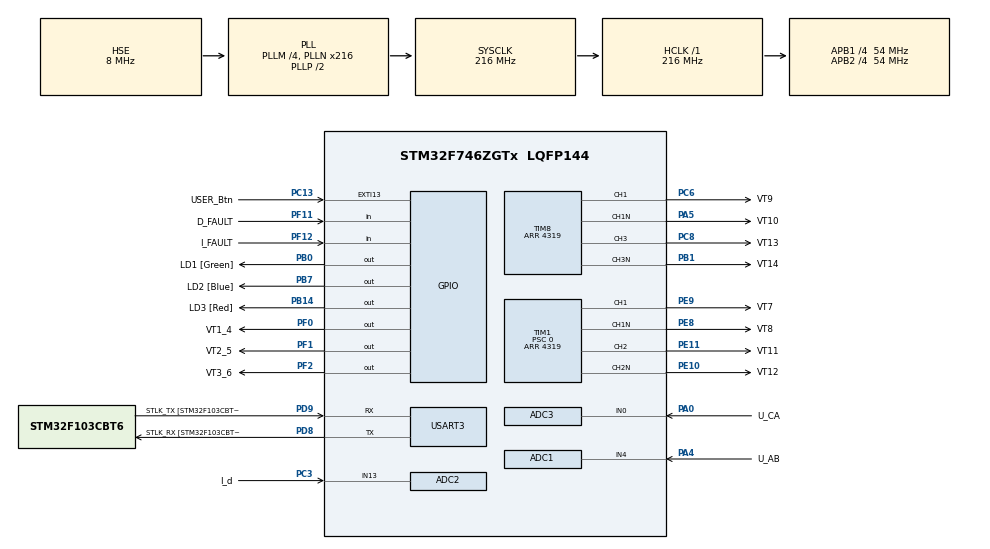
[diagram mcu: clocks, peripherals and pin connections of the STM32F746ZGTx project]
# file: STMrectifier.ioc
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ADC1.Channel-0\#ChannelRegularConversion=ADC_CHANNEL_4
ADC1.ClockPrescaler=ADC_CLOCK_SYNC_PCLK_DIV6
ADC1.ContinuousConvMode=ENABLE
ADC1.ExternalTrigConv=ADC_EXTERNALTRIGCONV_T1_TRGO
ADC1.NbrOfConversionFlag=1
ADC1.Rank-0\#ChannelRegularConversion=1
ADC1.SamplingTime-0\#ChannelRegularConversion=ADC_SAMPLETIME_3CYCLES
ADC1.master=1
ADC2.Channel-0\#ChannelRegularConversion=ADC_CHANNEL_13
ADC2.ClockPrescaler=ADC_CLOCK_SYNC_PCLK_DIV6
ADC2.ExternalTrigConv=ADC_SOFTWARE_START
ADC2.NbrOfConversion=1
ADC2.NbrOfConversionFlag=1
ADC2.Rank-0\#ChannelRegularConversion=1
ADC2.SamplingTime-0\#ChannelRegularConversion=ADC_SAMPLETIME_3CYCLES
ADC3.Channel-0\#ChannelRegularConversion=ADC_CHANNEL_0
ADC3.ClockPrescaler=ADC_CLOCK_SYNC_PCLK_DIV6
ADC3.ExternalTrigConv=ADC_SOFTWARE_START
ADC3.NbrOfConversionFlag=1
ADC3.Rank-0\#ChannelRegularConversion=1
ADC3.SamplingTime-0\#ChannelRegularConversion=ADC_SAMPLETIME_3CYCLES
Dma.ADC1.0.Direction=DMA_PERIPH_TO_MEMORY
Dma.ADC1.0.FIFOMode=DMA_FIFOMODE_DISABLE
Dma.ADC1.0.Instance=DMA2_Stream0
Dma.ADC1.0.MemDataAlignment=DMA_MDATAALIGN_HALFWORD
Dma.ADC1.0.MemInc=DMA_MINC_ENABLE
Dma.ADC1.0.Mode=DMA_CIRCULAR
Dma.ADC1.0.PeriphDataAlignment=DMA_PDATAALIGN_HALFWORD
Dma.ADC1.0.PeriphInc=DMA_PINC_DISABLE
Dma.ADC1.0.Priority=DMA_PRIORITY_LOW
Dma.Request0=ADC1
Mcu.Family=STM32F7
Mcu.Name=STM32F746ZGTx
Mcu.Package=LQFP144
NVIC.DMA2_Stream0_IRQn=true\:0\:0\:false\:false\:true\:false\:true
NVIC.PriorityGroup=NVIC_PRIORITYGROUP_4
PA0/WKUP.GPIO_Label=U_CA
PA0/WKUP.Signal=ADCx_IN0
PA1.GPIO_Label=RMII_REF_CLK [LAN8742A-CZ-TR_REFCLK0]
PA1.Signal=ETH_REF_CLK
PA10.GPIO_Label=USB_ID
PA10.Signal=USB_OTG_FS_ID
PA11.GPIO_Label=USB_DM
PA11.Signal=USB_OTG_FS_DM
PA12.GPIO_Label=USB_DP
PA12.Signal=USB_OTG_FS_DP
PA13.GPIO_Label=TMS
PA13.Mode=Serial_Wire
PA13.Signal=SYS_JTMS-SWDIO
PA14.GPIO_Label=TCK
PA14.Mode=Serial_Wire
PA14.Signal=SYS_JTCK-SWCLK
PA2.GPIO_Label=RMII_MDIO [LAN8742A-CZ-TR_MDIO]
PA2.Signal=ETH_MDIO
PA3.GPIO_Label=U_BC
PA3.Signal=ADCx_IN3
PA4.GPIO_Label=U_AB
PA4.Signal=ADCx_IN4
PA5.GPIO_Label=VT10
PA5.GPIO_Speed=GPIO_SPEED_FREQ_VERY_HIGH
PA5.Mode=PWM Generation1 CH1 CH1N
PA5.Signal=TIM8_CH1N
PA6.GPIO_Label=FAULT
PA6.Signal=TIM1_BKIN
PA7.GPIO_Label=RMII_CRS_DV [LAN8742A-CZ-TR_CRS_DV]
PA7.Signal=ETH_CRS_DV
PA8.GPIO_Label=USB_SOF [TP1]
PA8.Signal=USB_OTG_FS_SOF
PA9.GPIO_Label=USB_VBUS
PA9.Signal=USB_OTG_FS_VBUS
PB0.GPIO_Label=LD1 [Green]
PB0.Signal=GPIO_Output
PB1.GPIO_Label=VT14
PB1.GPIO_Speed=GPIO_SPEED_FREQ_VERY_HIGH
PB1.Mode=PWM Generation3 CH3 CH3N
PB1.Signal=TIM8_CH3N
PB13.GPIO_Label=RMII_TXD1 [LAN8742A-CZ-TR_TXD1]
PB13.Signal=ETH_TXD1
PB14.GPIO_Label=LD3 [Red]
PB14.Signal=GPIO_Output
PB3.GPIO_Label=SW0
PB3.Signal=SYS_JTDO-SWO
PB7.GPIO_Label=LD2 [Blue]
PB7.Signal=GPIO_Output
PC1.GPIO_Label=RMII_MDC [LAN8742A-CZ-TR_MDC]
PC1.Signal=ETH_MDC
PC13.GPIO_Label=USER_Btn
PC13.Signal=GPXTI13
PC14/OSC32_IN.Mode=LSE-External-Oscillator
PC14/OSC32_IN.Signal=RCC_OSC32_IN
PC15/OSC32_OUT.Mode=LSE-External-Oscillator
PC15/OSC32_OUT.Signal=RCC_OSC32_OUT
PC2.GPIO_Label=U_d
PC2.Signal=ADCx_IN12
PC3.GPIO_Label=I_d
PC3.Signal=ADCx_IN13
PC4.GPIO_Label=RMII_RXD0 [LAN8742A-CZ-TR_RXD0]
PC4.Signal=ETH_RXD0
PC5.GPIO_Label=RMII_RXD1 [LAN8742A-CZ-TR_RXD1]
PC5.Signal=ETH_RXD1
PC6.GPIO_Label=VT9
PC6.GPIO_Speed=GPIO_SPEED_FREQ_VERY_HIGH
PC6.Signal=S_TIM8_CH1
PC8.GPIO_Label=VT13
PC8.GPIO_Speed=GPIO_SPEED_FREQ_VERY_HIGH
PC8.Signal=S_TIM8_CH3
PD8.GPIO_Label=STLK_RX [STM32F103CBT6_PA3]
PD8.Mode=Asynchronous
PD8.Signal=USART3_TX
PD9.GPIO_Label=STLK_TX [STM32F103CBT6_PA2]
PD9.Mode=Asynchronous
PD9.Signal=USART3_RX
PE10.GPIO_Label=VT12
PE10.GPIO_Speed=GPIO_SPEED_FREQ_VERY_HIGH
PE10.Mode=PWM Generation2 CH2 CH2N
PE10.Signal=TIM1_CH2N
PE11.GPIO_Label=VT11
PE11.GPIO_Speed=GPIO_SPEED_FREQ_VERY_HIGH
PE11.Signal=S_TIM1_CH2
PE8.GPIO_Label=VT8
PE8.GPIO_Speed=GPIO_SPEED_FREQ_VERY_HIGH
PE8.Mode=PWM Generation1 CH1 CH1N
PE8.Signal=TIM1_CH1N
PE9.GPIO_Label=VT7
PE9.GPIO_Speed=GPIO_SPEED_FREQ_VERY_HIGH
PE9.Signal=S_TIM1_CH1
PF0.GPIO_Label=VT1_4
PF0.GPIO_Speed=GPIO_SPEED_FREQ_VERY_HIGH
PF0.Signal=GPIO_Output
PF1.GPIO_Label=VT2_5
PF1.GPIO_Speed=GPIO_SPEED_FREQ_VERY_HIGH
PF1.Signal=GPIO_Output
PF11.GPIO_Label=D_FAULT
PF11.Signal=GPIO_Input
PF12.GPIO_Label=I_FAULT
PF12.Signal=GPIO_Input
PF2.GPIO_Label=VT3_6
PF2.GPIO_Speed=GPIO_SPEED_FREQ_VERY_HIGH
PF2.Signal=GPIO_Output
PG11.GPIO_Label=RMII_TX_EN [LAN8742A-CZ-TR_TXEN]
PG11.Signal=ETH_TX_EN
PG13.GPIO_Label=RMII_TXD0 [LAN8742A-CZ-TR_TXD0]
PG13.Signal=ETH_TXD0
PH0/OSC_IN.GPIO_Label=MCO [STM32F103CBT6_PA8]
PH0/OSC_IN.Mode=HSE-External-Clock-Source
PH0/OSC_IN.Signal=RCC_OSC_IN
PH1/OSC_OUT.Mode=HSE-External-Clock-Source
PH1/OSC_OUT.Signal=RCC_OSC_OUT
ProjectManager.HeapSize=0x200
ProjectManager.StackSize=0x400
ProjectManager.TargetToolchain=STM32CubeIDE
RCC.48MHZClocksFreq_Value=24000000
RCC.AHBFreq_Value=216000000
RCC.APB1CLKDivider=RCC_HCLK_DIV4
RCC.APB1Freq_Value=54000000
RCC.APB1TimFreq_Value=108000000
RCC.APB2CLKDivider=RCC_HCLK_DIV4
RCC.APB2Freq_Value=54000000
RCC.APB2TimFreq_Value=108000000
RCC.CortexFreq_Value=216000000
RCC.HCLKFreq_Value=216000000
RCC.HSE_VALUE=8000000
RCC.HSI_VALUE=16000000
RCC.PLLM=4
RCC.PLLMUL=RCC_PLL_MUL9
RCC.PLLN=216
RCC.PLLQ=3
RCC.PLLSourceVirtual=RCC_PLLSOURCE_HSE
RCC.PRESCALERUSB=RCC_USBCLKSOURCE_PLL_DIV1_5
RCC.SYSCLKFreq_VALUE=216000000
RCC.SYSCLKSource=RCC_SYSCLKSOURCE_PLLCLK
RCC.SYSCLKSourceVirtual=RCC_SYSCLKSOURCE_PLLCLK
RCC.USBFreq_Value=144000000
RCC.VCOOutputFreq_Value=432000000
SH.ADCx_IN0.0=ADC3_IN0,IN0
SH.ADCx_IN12.0=ADC1_IN12
SH.ADCx_IN13.0=ADC2_IN13,IN13
SH.ADCx_IN3.0=ADC3_IN3
SH.ADCx_IN4.0=ADC1_IN4,IN4
SH.S_TIM1_CH1.0=TIM1_CH1,PWM Generation1 CH1 CH1N
SH.S_TIM1_CH2.0=TIM1_CH2,PWM Generation2 CH2 CH2N
SH.S_TIM8_CH1.0=TIM8_CH1,PWM Generation1 CH1 CH1N
SH.S_TIM8_CH3.0=TIM8_CH3,PWM Generation3 CH3 CH3N
TIM1.Channel-PWM\ Generation1\ CH1\ CH1N=TIM_CHANNEL_1
TIM1.Channel-PWM\ Generation2\ CH2\ CH2N=TIM_CHANNEL_2
TIM1.CounterMode=TIM_COUNTERMODE_UP
TIM1.OCMode_PWM-PWM\ Generation1\ CH1\ CH1N=TIM_OCMODE_PWM1
TIM1.Period=4319
TIM1.Prescaler=0
TIM1.Pulse-PWM\ Generation1\ CH1\ CH1N=2159
TIM1.Pulse-PWM\ Generation2\ CH2\ CH2N=2159
TIM1.TIM_MasterOutputTrigger=TIM_TRGO_UPDATE
TIM8.Channel-PWM\ Generation1\ CH1\ CH1N=TIM_CHANNEL_1
TIM8.Channel-PWM\ Generation3\ CH3\ CH3N=TIM_CHANNEL_3
TIM8.Period=4319
TIM8.Pulse-PWM\ Generation1\ CH1\ CH1N=2159
TIM8.Pulse-PWM\ Generation3\ CH3\ CH3N=2159
USART3.VirtualMode-Asynchronous=VM_ASYNC
VP_TIM1_VS_ClockSourceINT.Mode=Internal
VP_TIM8_VS_ClockSourceINT.Mode=Internal
board=NUCLEO-F746ZG

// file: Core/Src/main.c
/* USER CODE BEGIN Header */
/**
  ******************************************************************************
  * @file           : main.c
  * @brief          : Main program body
  ******************************************************************************
  * @attention
  *
  * <h2><center>&copy; Copyright (c) 2021 STMicroelectronics.
  * All rights reserved.</center></h2>
  *
  * This software component is licensed by ST under BSD 3-Clause license,
  * the "License"; You may not use this file except in compliance with the
  * License. You may obtain a copy of the License at:
  *                        opensource.org/licenses/BSD-3-Clause
  *
  ******************************************************************************
  */
/* USER CODE END Header */
#include "main.h"

/* USER CODE BEGIN Includes */
#include <stdio.h>
#include "string.h" // это для функции strlen()
/* USER CODE END Includes */

/* USER CODE BEGIN PD */
#define DT_0_5 54
#define DT_2_0 172
#define DT_4_0 214
/* USER CODE END PD */

ADC_HandleTypeDef hadc1;
ADC_HandleTypeDef hadc2;
ADC_HandleTypeDef hadc3;
DMA_HandleTypeDef hdma_adc1;

TIM_HandleTypeDef htim1;
TIM_HandleTypeDef htim8;

UART_HandleTypeDef huart3;

/* USER CODE BEGIN PV */
char trans_str[64] = {0,};
volatile uint16_t adc = 0;
volatile uint8_t flag = 0;

/* USER CODE END PV */

void SystemClock_Config(void);
static void MX_GPIO_Init(void);
static void MX_USART3_UART_Init(void);
static void MX_ADC1_Init(void);
static void MX_ADC2_Init(void);
static void MX_ADC3_Init(void);
static void MX_TIM1_Init(void);
static void MX_DMA_Init(void);
static void MX_TIM8_Init(void);
/* USER CODE BEGIN PFP */
void setPWM(TIM_HandleTypeDef timer, uint32_t channel, uint16_t period, uint16_t pulse) ;
/* USER CODE END PFP */

/* USER CODE BEGIN 0 */
/*void HAL_TIM_PWM_PulseFinishedCallback(TIM_HandleTypeDef *htim)
{
  if (htim->Instance == TIM1) // check if the interrupt comes from TIM1
  {
    HAL_GPIO_TogglePin(VT1_4_GPIO_Port, VT1_4_Pin);
    HAL_GPIO_TogglePin(VT2_5_GPIO_Port, VT2_5_Pin);
    HAL_GPIO_TogglePin(VT3_6_GPIO_Port, VT3_6_Pin);
  }
}*/

void HAL_ADC_ConvCpltCallback(ADC_HandleTypeDef* hadc)
{
  if(hadc->Instance == ADC1)
  {
    //snprintf(trans_str, 63, "ADC %d %d\n", (uint16_t)adc[0], (uint16_t)adc[1]);
    //HAL_UART_Transmit(&huart3, (uint8_t*)&adc, sizeof(adc), 1000);
    flag++;
  }
}
/* USER CODE END 0 */

int main(void)
{
  /* USER CODE BEGIN 1 */
  uint8_t flag_USER_Btn_press = 1;
  uint32_t time_USER_Btn_press = 0;
  uint8_t dt_state = 0;
  /* USER CODE END 1 */

  /* MCU Configuration--------------------------------------------------------*/

  /* Reset of all peripherals, Initializes the Flash interface and the Systick. */
  HAL_Init();

  /* Configure the system clock */
  SystemClock_Config();

  /* Initialize all configured peripherals */
  MX_GPIO_Init();
  MX_USART3_UART_Init();
  MX_ADC1_Init();
  MX_ADC2_Init();
  MX_ADC3_Init();
  MX_TIM1_Init();
  MX_DMA_Init();
  MX_TIM8_Init();
  /* USER CODE BEGIN 2 */
  HAL_ADC_Start_DMA(&hadc1, (uint32_t*)&adc, 1);

  HAL_TIM_PWM_Start_IT(&htim1, TIM_CHANNEL_1);
  HAL_TIMEx_PWMN_Start_IT(&htim1, TIM_CHANNEL_1);
  HAL_TIM_PWM_Start(&htim1, TIM_CHANNEL_2);
  HAL_TIMEx_PWMN_Start(&htim1, TIM_CHANNEL_2);
  HAL_TIM_PWM_Start(&htim8, TIM_CHANNEL_1);
  HAL_TIMEx_PWMN_Start(&htim8, TIM_CHANNEL_1);
  HAL_TIM_PWM_Start(&htim8, TIM_CHANNEL_3);
  HAL_TIMEx_PWMN_Start(&htim8, TIM_CHANNEL_3);

  TIM1->BDTR &= 0xFFFFFF00;
  TIM8->BDTR &= 0xFFFFFF00;
  /* USER CODE END 2 */

  /* Infinite loop */
  /* USER CODE BEGIN WHILE */
  while (1)
  {
    if(flag >= 50)
    {
      flag = 0;
      HAL_UART_Transmit(&huart3, (uint8_t*) &adc, sizeof(adc), 1000);
    }
    if (HAL_GPIO_ReadPin(USER_Btn_GPIO_Port, USER_Btn_Pin) == GPIO_PIN_SET
	&& flag_USER_Btn_press)
    {
      flag_USER_Btn_press = 0;

      // действие на нажатие
      TIM1->BDTR &= 0xFFFFFF00;
      TIM8->BDTR &= 0xFFFFFF00;
      switch (++dt_state)
      {
	case 0:
	  break;
	case 1:
	  TIM1->BDTR |= DT_0_5;
	  TIM8->BDTR |= DT_0_5;
	  break;
	case 2:
	  TIM1->BDTR |= DT_2_0;
	  TIM8->BDTR |= DT_2_0;
	  break;
	case 3:
	  TIM1->BDTR |= DT_4_0;
	  TIM8->BDTR |= DT_4_0;
	  break;
      }
      if (dt_state == 4)
	dt_state = 0;

      time_USER_Btn_press = HAL_GetTick();
    }

    if (!flag_USER_Btn_press && (HAL_GetTick() - time_USER_Btn_press) > 300)
    {
      flag_USER_Btn_press = 1;
    }
    /* USER CODE END WHILE */

  }
}

void SystemClock_Config(void)
{
  RCC_OscInitTypeDef RCC_OscInitStruct = {0};
  RCC_ClkInitTypeDef RCC_ClkInitStruct = {0};
  RCC_PeriphCLKInitTypeDef PeriphClkInitStruct = {0};

  /** Configure LSE Drive Capability
  */
  HAL_PWR_EnableBkUpAccess();
  /** Configure the main internal regulator output voltage
  */
  __HAL_RCC_PWR_CLK_ENABLE();
  __HAL_PWR_VOLTAGESCALING_CONFIG(PWR_REGULATOR_VOLTAGE_SCALE1);
  /** Initializes the RCC Oscillators according to the specified parameters
  * in the RCC_OscInitTypeDef structure.
  */
  RCC_OscInitStruct.OscillatorType = RCC_OSCILLATORTYPE_HSE;
  RCC_OscInitStruct.HSEState = RCC_HSE_BYPASS;
  RCC_OscInitStruct.PLL.PLLState = RCC_PLL_ON;
  RCC_OscInitStruct.PLL.PLLSource = RCC_PLLSOURCE_HSE;
  RCC_OscInitStruct.PLL.PLLM = 4;
  RCC_OscInitStruct.PLL.PLLN = 216;
  RCC_OscInitStruct.PLL.PLLP = RCC_PLLP_DIV2;
  RCC_OscInitStruct.PLL.PLLQ = 3;
  if (HAL_RCC_OscConfig(&RCC_OscInitStruct) != HAL_OK)
  {
    Error_Handler();
  }
  /** Activate the Over-Drive mode
  */
  if (HAL_PWREx_EnableOverDrive() != HAL_OK)
  {
    Error_Handler();
  }
  /** Initializes the CPU, AHB and APB buses clocks
  */
  RCC_ClkInitStruct.ClockType = RCC_CLOCKTYPE_HCLK|RCC_CLOCKTYPE_SYSCLK
                              |RCC_CLOCKTYPE_PCLK1|RCC_CLOCKTYPE_PCLK2;
  RCC_ClkInitStruct.SYSCLKSource = RCC_SYSCLKSOURCE_PLLCLK;
  RCC_ClkInitStruct.AHBCLKDivider = RCC_SYSCLK_DIV1;
  RCC_ClkInitStruct.APB1CLKDivider = RCC_HCLK_DIV4;
  RCC_ClkInitStruct.APB2CLKDivider = RCC_HCLK_DIV4;

  if (HAL_RCC_ClockConfig(&RCC_ClkInitStruct, FLASH_LATENCY_7) != HAL_OK)
  {
    Error_Handler();
  }
  PeriphClkInitStruct.PeriphClockSelection = RCC_PERIPHCLK_USART3;
  PeriphClkInitStruct.Usart3ClockSelection = RCC_USART3CLKSOURCE_PCLK1;
  if (HAL_RCCEx_PeriphCLKConfig(&PeriphClkInitStruct) != HAL_OK)
  {
    Error_Handler();
  }
}

static void MX_ADC1_Init(void)
{

  ADC_ChannelConfTypeDef sConfig = {0};

  /** Configure the global features of the ADC (Clock, Resolution, Data Alignment and number of conversion)
  */
  hadc1.Instance = ADC1;
  hadc1.Init.ClockPrescaler = ADC_CLOCK_SYNC_PCLK_DIV6;
  hadc1.Init.Resolution = ADC_RESOLUTION_12B;
  hadc1.Init.ScanConvMode = ADC_SCAN_DISABLE;
  hadc1.Init.ContinuousConvMode = ENABLE;
  hadc1.Init.DiscontinuousConvMode = DISABLE;
  hadc1.Init.ExternalTrigConvEdge = ADC_EXTERNALTRIGCONVEDGE_RISING;
  hadc1.Init.ExternalTrigConv = ADC_EXTERNALTRIGCONV_T1_TRGO;
  hadc1.Init.DataAlign = ADC_DATAALIGN_RIGHT;
  hadc1.Init.NbrOfConversion = 1;
  hadc1.Init.DMAContinuousRequests = DISABLE;
  hadc1.Init.EOCSelection = ADC_EOC_SINGLE_CONV;
  if (HAL_ADC_Init(&hadc1) != HAL_OK)
  {
    Error_Handler();
  }
  /** Configure for the selected ADC regular channel its corresponding rank in the sequencer and its sample time.
  */
  sConfig.Channel = ADC_CHANNEL_4;
  sConfig.Rank = ADC_REGULAR_RANK_1;
  sConfig.SamplingTime = ADC_SAMPLETIME_3CYCLES;
  if (HAL_ADC_ConfigChannel(&hadc1, &sConfig) != HAL_OK)
  {
    Error_Handler();
  }

}

static void MX_ADC2_Init(void)
{

  ADC_ChannelConfTypeDef sConfig = {0};

  /** Configure the global features of the ADC (Clock, Resolution, Data Alignment and number of conversion)
  */
  hadc2.Instance = ADC2;
  hadc2.Init.ClockPrescaler = ADC_CLOCK_SYNC_PCLK_DIV6;
  hadc2.Init.Resolution = ADC_RESOLUTION_12B;
  hadc2.Init.ScanConvMode = ADC_SCAN_DISABLE;
  hadc2.Init.ContinuousConvMode = ENABLE;
  hadc2.Init.DiscontinuousConvMode = DISABLE;
  hadc2.Init.ExternalTrigConvEdge = ADC_EXTERNALTRIGCONVEDGE_NONE;
  hadc2.Init.ExternalTrigConv = ADC_SOFTWARE_START;
  hadc2.Init.DataAlign = ADC_DATAALIGN_RIGHT;
  hadc2.Init.NbrOfConversion = 1;
  hadc2.Init.DMAContinuousRequests = DISABLE;
  hadc2.Init.EOCSelection = ADC_EOC_SINGLE_CONV;
  if (HAL_ADC_Init(&hadc2) != HAL_OK)
  {
    Error_Handler();
  }
  /** Configure for the selected ADC regular channel its corresponding rank in the sequencer and its sample time.
  */
  sConfig.Channel = ADC_CHANNEL_13;
  sConfig.Rank = ADC_REGULAR_RANK_1;
  sConfig.SamplingTime = ADC_SAMPLETIME_3CYCLES;
  if (HAL_ADC_ConfigChannel(&hadc2, &sConfig) != HAL_OK)
  {
    Error_Handler();
  }

}

static void MX_ADC3_Init(void)
{

  ADC_ChannelConfTypeDef sConfig = {0};

  /** Configure the global features of the ADC (Clock, Resolution, Data Alignment and number of conversion)
  */
  hadc3.Instance = ADC3;
  hadc3.Init.ClockPrescaler = ADC_CLOCK_SYNC_PCLK_DIV6;
  hadc3.Init.Resolution = ADC_RESOLUTION_12B;
  hadc3.Init.ScanConvMode = ADC_SCAN_DISABLE;
  hadc3.Init.ContinuousConvMode = ENABLE;
  hadc3.Init.DiscontinuousConvMode = DISABLE;
  hadc3.Init.ExternalTrigConvEdge = ADC_EXTERNALTRIGCONVEDGE_NONE;
  hadc3.Init.ExternalTrigConv = ADC_SOFTWARE_START;
  hadc3.Init.DataAlign = ADC_DATAALIGN_RIGHT;
  hadc3.Init.NbrOfConversion = 1;
  hadc3.Init.DMAContinuousRequests = DISABLE;
  hadc3.Init.EOCSelection = ADC_EOC_SINGLE_CONV;
  if (HAL_ADC_Init(&hadc3) != HAL_OK)
  {
    Error_Handler();
  }
  /** Configure for the selected ADC regular channel its corresponding rank in the sequencer and its sample time.
  */
  sConfig.Channel = ADC_CHANNEL_0;
  sConfig.Rank = ADC_REGULAR_RANK_1;
  sConfig.SamplingTime = ADC_SAMPLETIME_3CYCLES;
  if (HAL_ADC_ConfigChannel(&hadc3, &sConfig) != HAL_OK)
  {
    Error_Handler();
  }

}

static void MX_TIM1_Init(void)
{

  TIM_ClockConfigTypeDef sClockSourceConfig = {0};
  TIM_MasterConfigTypeDef sMasterConfig = {0};
  TIM_OC_InitTypeDef sConfigOC = {0};
  TIM_BreakDeadTimeConfigTypeDef sBreakDeadTimeConfig = {0};

  htim1.Instance = TIM1;
  htim1.Init.Prescaler = 0;
  htim1.Init.CounterMode = TIM_COUNTERMODE_UP;
  htim1.Init.Period = 4319;
  htim1.Init.ClockDivision = TIM_CLOCKDIVISION_DIV1;
  htim1.Init.RepetitionCounter = 0;
  htim1.Init.AutoReloadPreload = TIM_AUTORELOAD_PRELOAD_DISABLE;
  if (HAL_TIM_Base_Init(&htim1) != HAL_OK)
  {
    Error_Handler();
  }
  sClockSourceConfig.ClockSource = TIM_CLOCKSOURCE_INTERNAL;
  if (HAL_TIM_ConfigClockSource(&htim1, &sClockSourceConfig) != HAL_OK)
  {
    Error_Handler();
  }
  if (HAL_TIM_PWM_Init(&htim1) != HAL_OK)
  {
    Error_Handler();
  }
  sMasterConfig.MasterOutputTrigger = TIM_TRGO_UPDATE;
  sMasterConfig.MasterOutputTrigger2 = TIM_TRGO2_RESET;
  sMasterConfig.MasterSlaveMode = TIM_MASTERSLAVEMODE_DISABLE;
  if (HAL_TIMEx_MasterConfigSynchronization(&htim1, &sMasterConfig) != HAL_OK)
  {
    Error_Handler();
  }
  sConfigOC.OCMode = TIM_OCMODE_PWM1;
  sConfigOC.Pulse = 2159;
  sConfigOC.OCPolarity = TIM_OCPOLARITY_HIGH;
  sConfigOC.OCNPolarity = TIM_OCNPOLARITY_HIGH;
  sConfigOC.OCFastMode = TIM_OCFAST_DISABLE;
  sConfigOC.OCIdleState = TIM_OCIDLESTATE_RESET;
  sConfigOC.OCNIdleState = TIM_OCNIDLESTATE_RESET;
  if (HAL_TIM_PWM_ConfigChannel(&htim1, &sConfigOC, TIM_CHANNEL_1) != HAL_OK)
  {
    Error_Handler();
  }
  if (HAL_TIM_PWM_ConfigChannel(&htim1, &sConfigOC, TIM_CHANNEL_2) != HAL_OK)
  {
    Error_Handler();
  }
  sBreakDeadTimeConfig.OffStateRunMode = TIM_OSSR_DISABLE;
  sBreakDeadTimeConfig.OffStateIDLEMode = TIM_OSSI_DISABLE;
  sBreakDeadTimeConfig.LockLevel = TIM_LOCKLEVEL_OFF;
  sBreakDeadTimeConfig.DeadTime = 0;
  sBreakDeadTimeConfig.BreakState = TIM_BREAK_DISABLE;
  sBreakDeadTimeConfig.BreakPolarity = TIM_BREAKPOLARITY_HIGH;
  sBreakDeadTimeConfig.BreakFilter = 0;
  sBreakDeadTimeConfig.Break2State = TIM_BREAK2_DISABLE;
  sBreakDeadTimeConfig.Break2Polarity = TIM_BREAK2POLARITY_HIGH;
  sBreakDeadTimeConfig.Break2Filter = 0;
  sBreakDeadTimeConfig.AutomaticOutput = TIM_AUTOMATICOUTPUT_DISABLE;
  if (HAL_TIMEx_ConfigBreakDeadTime(&htim1, &sBreakDeadTimeConfig) != HAL_OK)
  {
    Error_Handler();
  }
  HAL_TIM_MspPostInit(&htim1);

}

static void MX_TIM8_Init(void)
{

  TIM_ClockConfigTypeDef sClockSourceConfig = {0};
  TIM_MasterConfigTypeDef sMasterConfig = {0};
  TIM_OC_InitTypeDef sConfigOC = {0};
  TIM_BreakDeadTimeConfigTypeDef sBreakDeadTimeConfig = {0};

  htim8.Instance = TIM8;
  htim8.Init.Prescaler = 0;
  htim8.Init.CounterMode = TIM_COUNTERMODE_UP;
  htim8.Init.Period = 4319;
  htim8.Init.ClockDivision = TIM_CLOCKDIVISION_DIV1;
  htim8.Init.RepetitionCounter = 0;
  htim8.Init.AutoReloadPreload = TIM_AUTORELOAD_PRELOAD_DISABLE;
  if (HAL_TIM_Base_Init(&htim8) != HAL_OK)
  {
    Error_Handler();
  }
  sClockSourceConfig.ClockSource = TIM_CLOCKSOURCE_INTERNAL;
  if (HAL_TIM_ConfigClockSource(&htim8, &sClockSourceConfig) != HAL_OK)
  {
    Error_Handler();
  }
  if (HAL_TIM_PWM_Init(&htim8) != HAL_OK)
  {
    Error_Handler();
  }
  sMasterConfig.MasterOutputTrigger = TIM_TRGO_RESET;
  sMasterConfig.MasterOutputTrigger2 = TIM_TRGO2_RESET;
  sMasterConfig.MasterSlaveMode = TIM_MASTERSLAVEMODE_DISABLE;
  if (HAL_TIMEx_MasterConfigSynchronization(&htim8, &sMasterConfig) != HAL_OK)
  {
    Error_Handler();
  }
  sConfigOC.OCMode = TIM_OCMODE_PWM1;
  sConfigOC.Pulse = 2159;
  sConfigOC.OCPolarity = TIM_OCPOLARITY_HIGH;
  sConfigOC.OCNPolarity = TIM_OCNPOLARITY_HIGH;
  sConfigOC.OCFastMode = TIM_OCFAST_DISABLE;
  sConfigOC.OCIdleState = TIM_OCIDLESTATE_RESET;
  sConfigOC.OCNIdleState = TIM_OCNIDLESTATE_RESET;
  if (HAL_TIM_PWM_ConfigChannel(&htim8, &sConfigOC, TIM_CHANNEL_1) != HAL_OK)
  {
    Error_Handler();
  }
  if (HAL_TIM_PWM_ConfigChannel(&htim8, &sConfigOC, TIM_CHANNEL_3) != HAL_OK)
  {
    Error_Handler();
  }
  sBreakDeadTimeConfig.OffStateRunMode = TIM_OSSR_DISABLE;
  sBreakDeadTimeConfig.OffStateIDLEMode = TIM_OSSI_DISABLE;
  sBreakDeadTimeConfig.LockLevel = TIM_LOCKLEVEL_OFF;
  sBreakDeadTimeConfig.DeadTime = 0;
  sBreakDeadTimeConfig.BreakState = TIM_BREAK_DISABLE;
  sBreakDeadTimeConfig.BreakPolarity = TIM_BREAKPOLARITY_HIGH;
  sBreakDeadTimeConfig.BreakFilter = 0;
  sBreakDeadTimeConfig.Break2State = TIM_BREAK2_DISABLE;
  sBreakDeadTimeConfig.Break2Polarity = TIM_BREAK2POLARITY_HIGH;
  sBreakDeadTimeConfig.Break2Filter = 0;
  sBreakDeadTimeConfig.AutomaticOutput = TIM_AUTOMATICOUTPUT_DISABLE;
  if (HAL_TIMEx_ConfigBreakDeadTime(&htim8, &sBreakDeadTimeConfig) != HAL_OK)
  {
    Error_Handler();
  }
  HAL_TIM_MspPostInit(&htim8);

}

static void MX_USART3_UART_Init(void)
{

  huart3.Instance = USART3;
  huart3.Init.BaudRate = 115200;
  huart3.Init.WordLength = UART_WORDLENGTH_8B;
  huart3.Init.StopBits = UART_STOPBITS_1;
  huart3.Init.Parity = UART_PARITY_NONE;
  huart3.Init.Mode = UART_MODE_TX_RX;
  huart3.Init.HwFlowCtl = UART_HWCONTROL_NONE;
  huart3.Init.OverSampling = UART_OVERSAMPLING_16;
  huart3.Init.OneBitSampling = UART_ONE_BIT_SAMPLE_DISABLE;
  huart3.AdvancedInit.AdvFeatureInit = UART_ADVFEATURE_NO_INIT;
  if (HAL_UART_Init(&huart3) != HAL_OK)
  {
    Error_Handler();
  }

}

static void MX_DMA_Init(void)
{

  /* DMA controller clock enable */
  __HAL_RCC_DMA2_CLK_ENABLE();

  /* DMA interrupt init */
  /* DMA2_Stream0_IRQn interrupt configuration */
  HAL_NVIC_SetPriority(DMA2_Stream0_IRQn, 0, 0);
  HAL_NVIC_EnableIRQ(DMA2_Stream0_IRQn);

}

static void MX_GPIO_Init(void)
{
  GPIO_InitTypeDef GPIO_InitStruct = {0};

  /* GPIO Ports Clock Enable */
  __HAL_RCC_GPIOC_CLK_ENABLE();
  __HAL_RCC_GPIOF_CLK_ENABLE();
  __HAL_RCC_GPIOH_CLK_ENABLE();
  __HAL_RCC_GPIOA_CLK_ENABLE();
  __HAL_RCC_GPIOB_CLK_ENABLE();
  __HAL_RCC_GPIOE_CLK_ENABLE();
  __HAL_RCC_GPIOD_CLK_ENABLE();
  __HAL_RCC_GPIOG_CLK_ENABLE();

  /*Configure GPIO pin Output Level */
  HAL_GPIO_WritePin(GPIOF, VT1_4_Pin|VT2_5_Pin|VT3_6_Pin, GPIO_PIN_RESET);

  /*Configure GPIO pin Output Level */
  HAL_GPIO_WritePin(GPIOB, LD1_Pin|LD3_Pin|LD2_Pin, GPIO_PIN_RESET);

  /*Configure GPIO pin : USER_Btn_Pin */
  GPIO_InitStruct.Pin = USER_Btn_Pin;
  GPIO_InitStruct.Mode = GPIO_MODE_IT_RISING;
  GPIO_InitStruct.Pull = GPIO_NOPULL;
  HAL_GPIO_Init(USER_Btn_GPIO_Port, &GPIO_InitStruct);

  /*Configure GPIO pins : VT1_4_Pin VT2_5_Pin VT3_6_Pin */
  GPIO_InitStruct.Pin = VT1_4_Pin|VT2_5_Pin|VT3_6_Pin;
  GPIO_InitStruct.Mode = GPIO_MODE_OUTPUT_PP;
  GPIO_InitStruct.Pull = GPIO_NOPULL;
  GPIO_InitStruct.Speed = GPIO_SPEED_FREQ_VERY_HIGH;
  HAL_GPIO_Init(GPIOF, &GPIO_InitStruct);

  /*Configure GPIO pins : RMII_MDC_Pin RMII_RXD0_Pin RMII_RXD1_Pin */
  GPIO_InitStruct.Pin = RMII_MDC_Pin|RMII_RXD0_Pin|RMII_RXD1_Pin;
  GPIO_InitStruct.Mode = GPIO_MODE_AF_PP;
  GPIO_InitStruct.Pull = GPIO_NOPULL;
  GPIO_InitStruct.Speed = GPIO_SPEED_FREQ_VERY_HIGH;
  GPIO_InitStruct.Alternate = GPIO_AF11_ETH;
  HAL_GPIO_Init(GPIOC, &GPIO_InitStruct);

  /*Configure GPIO pins : RMII_REF_CLK_Pin RMII_MDIO_Pin RMII_CRS_DV_Pin */
  GPIO_InitStruct.Pin = RMII_REF_CLK_Pin|RMII_MDIO_Pin|RMII_CRS_DV_Pin;
  GPIO_InitStruct.Mode = GPIO_MODE_AF_PP;
  GPIO_InitStruct.Pull = GPIO_NOPULL;
  GPIO_InitStruct.Speed = GPIO_SPEED_FREQ_VERY_HIGH;
  GPIO_InitStruct.Alternate = GPIO_AF11_ETH;
  HAL_GPIO_Init(GPIOA, &GPIO_InitStruct);

  /*Configure GPIO pins : LD1_Pin LD3_Pin LD2_Pin */
  GPIO_InitStruct.Pin = LD1_Pin|LD3_Pin|LD2_Pin;
  GPIO_InitStruct.Mode = GPIO_MODE_OUTPUT_PP;
  GPIO_InitStruct.Pull = GPIO_NOPULL;
  GPIO_InitStruct.Speed = GPIO_SPEED_FREQ_LOW;
  HAL_GPIO_Init(GPIOB, &GPIO_InitStruct);

  /*Configure GPIO pins : D_FAULT_Pin I_FAULT_Pin */
  GPIO_InitStruct.Pin = D_FAULT_Pin|I_FAULT_Pin;
  GPIO_InitStruct.Mode = GPIO_MODE_INPUT;
  GPIO_InitStruct.Pull = GPIO_NOPULL;
  HAL_GPIO_Init(GPIOF, &GPIO_InitStruct);

  /*Configure GPIO pin : RMII_TXD1_Pin */
  GPIO_InitStruct.Pin = RMII_TXD1_Pin;
  GPIO_InitStruct.Mode = GPIO_MODE_AF_PP;
  GPIO_InitStruct.Pull = GPIO_NOPULL;
  GPIO_InitStruct.Speed = GPIO_SPEED_FREQ_VERY_HIGH;
  GPIO_InitStruct.Alternate = GPIO_AF11_ETH;
  HAL_GPIO_Init(RMII_TXD1_GPIO_Port, &GPIO_InitStruct);

  /*Configure GPIO pins : USB_SOF_Pin USB_ID_Pin USB_DM_Pin USB_DP_Pin */
  GPIO_InitStruct.Pin = USB_SOF_Pin|USB_ID_Pin|USB_DM_Pin|USB_DP_Pin;
  GPIO_InitStruct.Mode = GPIO_MODE_AF_PP;
  GPIO_InitStruct.Pull = GPIO_NOPULL;
  GPIO_InitStruct.Speed = GPIO_SPEED_FREQ_VERY_HIGH;
  GPIO_InitStruct.Alternate = GPIO_AF10_OTG_FS;
  HAL_GPIO_Init(GPIOA, &GPIO_InitStruct);

  /*Configure GPIO pin : USB_VBUS_Pin */
  GPIO_InitStruct.Pin = USB_VBUS_Pin;
  GPIO_InitStruct.Mode = GPIO_MODE_INPUT;
  GPIO_InitStruct.Pull = GPIO_NOPULL;
  HAL_GPIO_Init(USB_VBUS_GPIO_Port, &GPIO_InitStruct);

  /*Configure GPIO pins : RMII_TX_EN_Pin RMII_TXD0_Pin */
  GPIO_InitStruct.Pin = RMII_TX_EN_Pin|RMII_TXD0_Pin;
  GPIO_InitStruct.Mode = GPIO_MODE_AF_PP;
  GPIO_InitStruct.Pull = GPIO_NOPULL;
  GPIO_InitStruct.Speed = GPIO_SPEED_FREQ_VERY_HIGH;
  GPIO_InitStruct.Alternate = GPIO_AF11_ETH;
  HAL_GPIO_Init(GPIOG, &GPIO_InitStruct);

}

/* USER CODE BEGIN 4 */
void setPWM(TIM_HandleTypeDef timer, uint32_t channel, uint16_t period, uint16_t pulse)
{
 HAL_TIM_PWM_Stop(&timer, channel); // stop generation of pwm
 TIM_OC_InitTypeDef sConfigOC;
 timer.Init.Period = period; // set the period duration
 HAL_TIM_PWM_Init(&timer); // reinititialise with new period value
 sConfigOC.OCMode = TIM_OCMODE_PWM1;
 sConfigOC.Pulse = pulse; // set the pulse duration
 sConfigOC.OCPolarity = TIM_OCPOLARITY_HIGH;
 sConfigOC.OCFastMode = TIM_OCFAST_DISABLE;
 HAL_TIM_PWM_ConfigChannel(&timer, &sConfigOC, channel);
 HAL_TIM_PWM_Start(&timer, channel); // start pwm generation
}
/* USER CODE END 4 */

void Error_Handler(void)
{
  __disable_irq();
  while (1)
  {
  }
}

/************************ (C) COPYRIGHT STMicroelectronics *****END OF FILE****/
